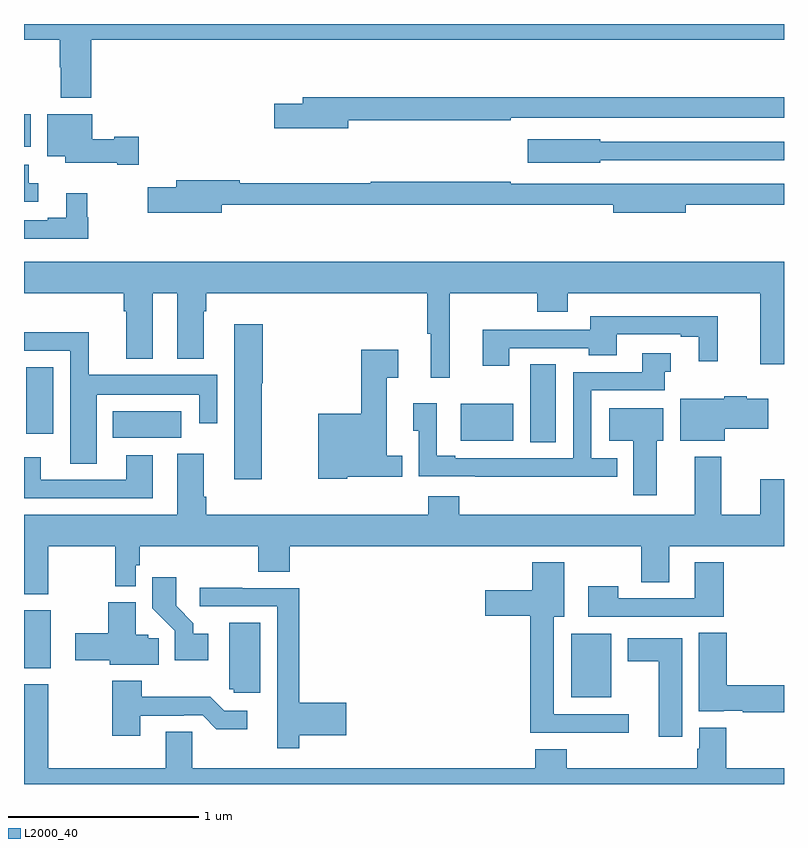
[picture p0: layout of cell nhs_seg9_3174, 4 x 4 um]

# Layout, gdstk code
import gdstk
lib = gdstk.Library(unit=1e-6, precision=1e-09)
def R(c, l, rs):  # rectangles x0, y0, x1, y1
    for r in rs: c.add(gdstk.rectangle(r[:2], r[2:], *l))
def P(c, l, *ps):  # polygons
    for p in ps: c.add(gdstk.Polygon(p, *l))
L2000_40 = (2000, 40)

nhs_seg9_3174 = lib.new_cell('nhs_seg9_3174')
R(nhs_seg9_3174, L2000_40, [(295.88,1196.957,296.092,1197.292), (293,1197.11,293.14,1197.415), (295.664,1198.3,295.798,1198.709), (295.298,1198.307,295.576,1198.501), (293.468,1198.322,293.827,1198.462), (293.012,1198.344,293.155,1198.694), (293,1199.855,293.035,1200.025)])
P(nhs_seg9_3174, L2000_40, [(293.354,1200.416),(297,1200.416),(297,1200.5),(293,1200.5),(293,1200.416),(293.189,1200.416),(293.189,1200.272),(293.194,1200.272),(293.194,1200.111),(293.354,1200.111)],
  [(294.706,1199.994),(295.562,1199.994),(295.562,1200.006),(297,1200.006),(297,1200.115),(294.467,1200.115),(294.467,1200.081),(294.318,1200.081),(294.318,1199.951),(294.706,1199.951)],
  [(293.605,1199.906),(293.474,1199.906),(293.474,1199.893),(293.359,1199.893),(293.359,1200.025),(293.123,1200.025),(293.123,1199.804),(293.216,1199.804),(293.216,1199.771),(293.492,1199.771),(293.492,1199.759),(293.605,1199.759)],
  [(296.034,1199.784),(297,1199.784),(297,1199.88),(296.034,1199.88),(296.034,1199.893),(295.65,1199.893),(295.65,1199.771),(296.034,1199.771)],
  [(293.074,1199.663),(293.024,1199.663),(293.024,1199.76),(293,1199.76),(293,1199.565),(293.074,1199.565)],
  [(294.04,1199.55),(296.102,1199.55),(296.102,1199.507),(296.482,1199.507),(296.482,1199.55),(297,1199.55),(297,1199.658),(295.562,1199.658),(295.562,1199.671),(294.824,1199.671),(294.824,1199.663),(294.136,1199.663),(294.136,1199.678),(293.801,1199.678),(293.801,1199.642),(293.652,1199.642),(293.652,1199.507),(294.04,1199.507)],
  [(293.339,1199.484),(293.332,1199.484),(293.332,1199.608),(293.222,1199.608),(293.222,1199.479),(293.126,1199.479),(293.126,1199.466),(293,1199.466),(293,1199.37),(293.339,1199.37)],
  [(295.24,1199.084),(295.702,1199.084),(295.702,1198.985),(295.862,1198.985),(295.862,1199.084),(296.876,1199.084),(296.876,1198.71),(297,1198.71),(297,1199.248),(293,1199.248),(293,1199.084),(293.525,1199.084),(293.525,1198.988),(293.537,1198.988),(293.537,1198.739),(293.677,1198.739),(293.677,1199.084),(293.807,1199.084),(293.807,1198.739),(293.947,1198.739),(293.947,1198.988),(293.96,1198.988),(293.96,1199.084),(295.123,1199.084),(295.123,1198.869),(295.142,1198.869),(295.142,1198.638),(295.24,1198.638)],
  [(295.555,1198.794),(295.972,1198.794),(295.972,1198.757),(296.119,1198.757),(296.119,1198.866),(296.456,1198.866),(296.456,1198.854),(296.552,1198.854),(296.552,1198.725),(296.652,1198.725),(296.652,1198.962),(295.979,1198.962),(295.979,1198.89),(295.415,1198.89),(295.415,1198.701),(295.555,1198.701)],
  [(294.252,1198.608),(294.257,1198.608),(294.257,1198.921),(294.107,1198.921),(294.107,1198.104),(294.252,1198.104)],
  [(293.383,1198.55),(293.922,1198.55),(293.922,1198.398),(294.018,1198.398),(294.018,1198.654),(293.342,1198.654),(293.342,1198.877),(293,1198.877),(293,1198.779),(293.243,1198.779),(293.243,1198.186),(293.383,1198.186)],
  [(294.702,1198.118),(294.992,1198.118),(294.992,1198.228),(294.91,1198.228),(294.91,1198.639),(294.97,1198.639),(294.97,1198.786),(294.776,1198.786),(294.776,1198.45),(294.548,1198.45),(294.548,1198.106),(294.702,1198.106)],
  [(296.122,1198.215),(295.986,1198.215),(295.986,1198.572),(296.372,1198.572),(296.372,1198.67),(296.404,1198.67),(296.404,1198.767),(296.255,1198.767),(296.255,1198.668),(295.89,1198.668),(295.89,1198.215),(295.27,1198.215),(295.27,1198.228),(295.173,1198.228),(295.173,1198.504),(295.049,1198.504),(295.049,1198.359),(295.077,1198.359),(295.077,1198.119),(295.375,1198.119),(295.375,1198.118),(296.122,1198.118)],
  [(296.689,1198.37),(296.917,1198.37),(296.917,1198.528),(296.804,1198.528),(296.804,1198.541),(296.685,1198.541),(296.685,1198.528),(296.453,1198.528),(296.453,1198.307),(296.689,1198.307)],
  [(296.329,1198.307),(296.365,1198.307),(296.365,1198.477),(296.081,1198.477),(296.081,1198.307),(296.207,1198.307),(296.207,1198.02),(296.329,1198.02)],
  [(293.127,1197.752),(293.481,1197.752),(293.481,1197.542),(293.589,1197.542),(293.589,1197.651),(293.609,1197.651),(293.609,1197.752),(294.233,1197.752),(294.233,1197.616),(294.398,1197.616),(294.398,1197.752),(296.248,1197.752),(296.248,1197.562),(296.395,1197.562),(296.395,1197.752),(297,1197.752),(297,1198.105),(296.876,1198.105),(296.876,1197.916),(296.671,1197.916),(296.671,1198.222),(296.531,1198.222),(296.531,1197.916),(295.292,1197.916),(295.292,1198.015),(295.127,1198.015),(295.127,1197.916),(293.96,1197.916),(293.96,1198.012),(293.947,1198.012),(293.947,1198.237),(293.807,1198.237),(293.807,1197.916),(293,1197.916),(293,1197.5),(293.127,1197.5)],
  [(293.677,1198.231),(293.537,1198.231),(293.537,1198.101),(293.089,1198.101),(293.089,1198.221),(293,1198.221),(293,1198.005),(293.677,1198.005)],
  [(296.182,1196.868),(295.789,1196.868),(295.789,1197.38),(295.843,1197.38),(295.843,1197.667),(295.676,1197.667),(295.676,1197.52),(295.428,1197.52),(295.428,1197.386),(295.664,1197.386),(295.664,1196.771),(296.182,1196.771)],
  [(296.684,1197.667),(296.531,1197.667),(296.531,1197.477),(296.127,1197.477),(296.127,1197.541),(295.971,1197.541),(295.971,1197.381),(296.684,1197.381)],
  [(293.971,1197.292),(293.89,1197.292),(293.89,1197.347),(293.8,1197.437),(293.8,1197.589),(293.674,1197.589),(293.674,1197.426),(293.793,1197.307),(293.793,1197.152),(293.971,1197.152)],
  [(294.449,1196.756),(294.697,1196.756),(294.697,1196.927),(294.449,1196.927),(294.449,1197.531),(294.149,1197.531),(294.149,1197.534),(293.925,1197.534),(293.925,1197.435),(294.333,1197.435),(294.333,1196.91),(294.332,1196.91),(294.332,1196.688),(294.449,1196.688)],
  [(293.708,1197.266),(293.655,1197.266),(293.655,1197.285),(293.587,1197.285),(293.587,1197.457),(293.443,1197.457),(293.443,1197.294),(293.271,1197.294),(293.271,1197.152),(293.45,1197.152),(293.45,1197.128),(293.708,1197.128)],
  [(294.244,1197.349),(294.08,1197.349),(294.08,1197),(294.105,1197),(294.105,1196.979),(294.244,1196.979)],
  [(297,1197.02),(296.699,1197.02),(296.699,1197.296),(296.552,1197.296),(296.552,1196.882),(296.682,1196.882),(296.682,1196.885),(296.782,1196.885),(296.782,1196.878),(297,1196.878)],
  [(296.464,1197.268),(296.177,1197.268),(296.177,1197.146),(296.342,1197.146),(296.342,1196.748),(296.464,1196.748)],
  [(293.611,1196.859),(293.84,1196.859),(293.84,1196.862),(293.94,1196.862),(294.013,1196.789),(294.175,1196.789),(294.175,1196.886),(294.054,1196.886),(293.981,1196.959),(293.619,1196.959),(293.619,1197.043),(293.464,1197.043),(293.464,1196.754),(293.611,1196.754)],
  [(297,1196.584),(296.696,1196.584),(296.696,1196.797),(296.555,1196.797),(296.555,1196.685),(296.543,1196.685),(296.543,1196.584),(295.856,1196.584),(295.856,1196.683),(295.691,1196.683),(295.691,1196.584),(293.886,1196.584),(293.886,1196.774),(293.747,1196.774),(293.747,1196.584),(293.127,1196.584),(293.127,1197.025),(293,1197.025),(293,1196.5),(297,1196.5)])

lib.write_gds('nhs_seg9_3174.gds')
